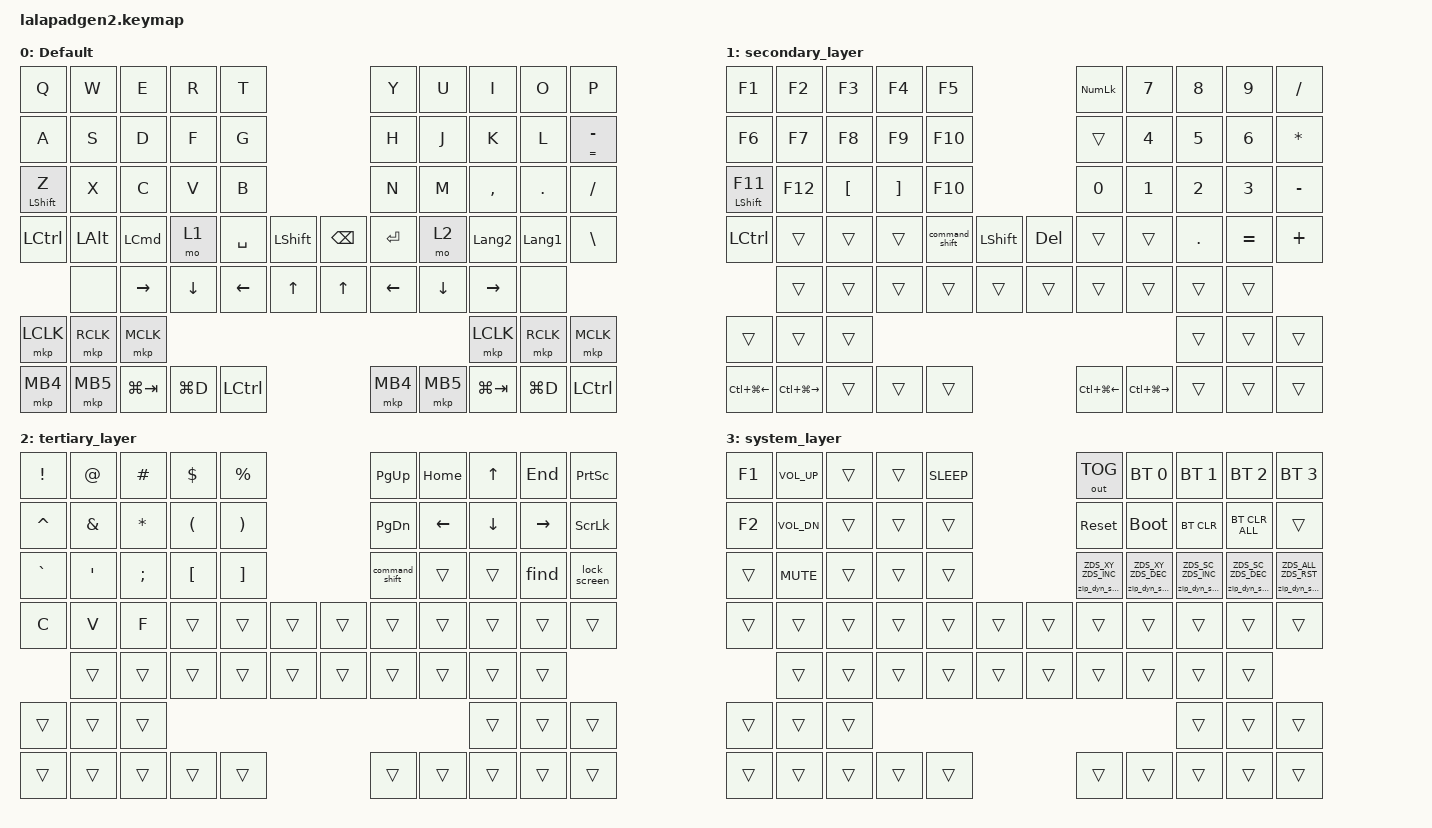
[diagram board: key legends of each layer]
#include <input/processors.dtsi>
#include <dt-bindings/zmk/zip_dynamic_scale.h>
#include <behaviors.dtsi>
#include <dt-bindings/zmk/bt.h>
#include <dt-bindings/zmk/keys.h>
#include <dt-bindings/zmk/outputs.h>
#include <dt-bindings/zmk/pointing.h>

#define DEFAULT_LAYER   0
#define SECONDARY_LAYER 1
#define TERTIARY_LAYER  2
#define SYSTEM_LAYER    3

&mt { quick-tap-ms = <200>; };

&lt { quick-tap-ms = <200>; };

/ {
    behaviors {
        zip_dyn_scale: zip_dyn_scale {
            compatible = "zmk,behavior-zip-dynamic-scale";
            #binding-cells = <2>;
        };

        zip_dyn_scale_set: zip_dyn_scale_set {
            compatible = "zmk,behavior-zip-dynamic-scale-set";
            #binding-cells = <2>;
        };

        mt2: mod_tap2 {
            compatible = "zmk,behavior-hold-tap";
            #binding-cells = <2>;
            flavor = "tap-preferred";
            tapping-term-ms = <200>;
            quick-tap-ms = <200>;
            require-prior-idle-ms = <125>;
            bindings = <&kp>, <&kp>;
        };

        tap_dance_layer_1and2: tap_dance_layer_1and2 {
            compatible = "zmk,behavior-tap-dance";
            label = "td_mo12";
            #binding-cells = <0>;
            bindings = <&mo 1>, <&mo 2>;
        };
    };

    combos {
        compatible = "zmk,combos";

        CONBO_ESC {
            bindings = <&kp ESCAPE>;
            key-positions = <0 1>;
        };

        COMBO_TAB {
            bindings = <&kp TAB>;
            key-positions = <10 11>;
        };
    };

    macros {
        screenshot: screenshot {
            compatible = "zmk,behavior-macro";
            #binding-cells = <0>;
            bindings = <&kp LGUI &kp LSHFT &kp NUMBER_4>;
            label = "SCREENSHOT";
        };

        screenshot_full: screenshot_full {
            compatible = "zmk,behavior-macro";
            #binding-cells = <0>;
            bindings = <&kp LEFT_COMMAND &kp LEFT_SHIFT &kp NUMBER_3>;
            label = "SCREENSHOT_FULL";
        };

        coppy: coppy {
            compatible = "zmk,behavior-macro";
            #binding-cells = <0>;
            bindings = <&kp LEFT_COMMAND &kp C>;
            label = "COPPY";
        };

        paste: paste {
            compatible = "zmk,behavior-macro";
            #binding-cells = <0>;
            bindings = <&kp LEFT_COMMAND &kp V>;
            label = "PASTE";
        };

        plain_text: plain_text {
            compatible = "zmk,behavior-macro";
            #binding-cells = <0>;
            bindings = <&kp LEFT_COMMAND &kp LEFT_SHIFT &kp V>;
            label = "PLAIN_TEXT";
        };

        find: find {
            compatible = "zmk,behavior-macro";
            #binding-cells = <0>;
            bindings = <&kp LEFT_COMMAND &kp F>;
            label = "FIND";
        };

        lock_screen: lock_screen {
            compatible = "zmk,behavior-macro";
            #binding-cells = <0>;
            bindings = <&kp LEFT_CONTROL &kp LEFT_COMMAND &kp Q>;
            label = "LOCK_SCREEN";
        };

        command_shift: command_shift {
            compatible = "zmk,behavior-macro";
            #binding-cells = <0>;
            bindings = <&kp LEFT_COMMAND &kp LEFT_SHIFT>;
            label = "COMMAND_SHIFT";
        };
    };

    keymap {
        compatible = "zmk,keymap";

        DEFAULT_LAYER {
            display-name = "Default";
            bindings = <
&kp Q              &kp W         &kp E             &kp R      &kp T                                     &kp Y      &kp U     &kp I           &kp O           &kp P
&kp A              &kp S         &kp D             &kp F      &kp G                                     &kp H      &kp J     &kp K           &kp L           &mt2 EQUAL MINUS
&mt2 LEFT_SHIFT Z  &kp X         &kp C             &kp V      &kp B                                     &kp N      &kp M     &kp COMMA       &kp PERIOD      &kp SLASH
&kp LCTRL          &kp LEFT_ALT  &kp LEFT_COMMAND  &mo 1      &kp SPACE  &kp LEFT_SHIFT  &kp BACKSPACE  &kp ENTER  &mo 2     &kp LANGUAGE_2  &kp LANGUAGE_1  &kp BACKSLASH
                   &none         &kp RIGHT         &kp DOWN   &kp LEFT   &kp UP          &kp UP         &kp LEFT   &kp DOWN  &kp RIGHT       &none
&mkp LCLK          &mkp RCLK     &mkp MCLK                                                                                   &mkp LCLK       &mkp RCLK       &mkp MCLK
&mkp MB4           &mkp MB5      &kp LG(TAB)       &kp LG(D)  &kp LCTRL                                 &mkp MB4   &mkp MB5  &kp LG(TAB)     &kp LG(D)       &kp LCTRL
            >;
        };

        SECONDARY_LAYER {
            display-name = "secondary_layer";
            bindings = <
&kp F1              &kp F2             &kp F3            &kp F4             &kp F5                                   &kp KP_NUMLOCK    &kp N7             &kp N8        &kp N9        &kp SLASH
&kp F6              &kp F7             &kp F8            &kp F9             &kp F10                                  &trans            &kp NUMBER_4       &kp N5        &kp NUMBER_6  &kp ASTERISK
&mt LEFT_SHIFT F11  &kp F12            &kp LEFT_BRACKET  &kp RIGHT_BRACKET  &kp F10                                  &kp NUMBER_0      &kp N1             &kp NUMBER_2  &kp NUMBER_3  &kp MINUS
&kp LEFT_CONTROL    &trans             &trans            &trans             &command_shift  &kp LEFT_SHIFT  &kp DEL  &trans            &trans             &kp DOT       &kp EQUAL     &kp PLUS
                    &trans             &trans            &trans             &trans          &trans          &trans   &trans            &trans             &trans        &trans
&trans              &trans             &trans                                                                                                             &trans        &trans        &trans
&kp LC(LG(LEFT))    &kp LC(LG(RIGHT))  &trans            &trans             &trans                                   &kp LC(LG(LEFT))  &kp LC(LG(RIGHT))  &trans        &trans        &trans
            >;
        };

        TERTIARY_LAYER {
            display-name = "tertiary_layer";
            bindings = <
&kp EXCLAMATION  &kp AT_SIGN    &kp HASH      &kp DOLLAR            &kp PERCENT                            &kp PAGE_UP     &kp HOME  &kp UP_ARROW    &kp END    &kp PRINTSCREEN
&kp CARET        &kp AMPERSAND  &kp ASTERISK  &kp LEFT_PARENTHESIS  &kp RIGHT_PARENTHESIS                  &kp PAGE_DOWN   &kp LEFT  &kp DOWN_ARROW  &kp RIGHT  &kp SCROLLLOCK
&kp GRAVE        &kp SQT        &kp SEMI      &kp LEFT_BRACKET      &kp RIGHT_BRACKET                      &command_shift  &trans    &trans          &find      &lock_screen
&kp C            &kp V          &kp F         &trans                &trans                 &trans  &trans  &trans          &trans    &trans          &trans     &trans
                 &trans         &trans        &trans                &trans                 &trans  &trans  &trans          &trans    &trans          &trans
&trans           &trans         &trans                                                                                               &trans          &trans     &trans
&trans           &trans         &trans        &trans                &trans                                 &trans          &trans    &trans          &trans     &trans
            >;
        };

        SYSTEM_LAYER {
            display-name = "system_layer";
            bindings = <
&kp F1  &kp C_VOL_UP  &trans  &trans  &kp C_SLEEP                  &out OUT_TOG                   &bt BT_SEL 0                   &bt BT_SEL 1                   &bt BT_SEL 2                   &bt BT_SEL 3
&kp F2  &kp C_VOL_DN  &trans  &trans  &trans                       &sys_reset                     &bootloader                    &bt BT_CLR                     &bt BT_CLR_ALL                 &trans
&trans  &kp C_MUTE    &trans  &trans  &trans                       &zip_dyn_scale ZDS_XY ZDS_INC  &zip_dyn_scale ZDS_XY ZDS_DEC  &zip_dyn_scale ZDS_SC ZDS_INC  &zip_dyn_scale ZDS_SC ZDS_DEC  &zip_dyn_scale ZDS_ALL ZDS_RST
&trans  &trans        &trans  &trans  &trans       &trans  &trans  &trans                         &trans                         &trans                         &trans                         &trans
        &trans        &trans  &trans  &trans       &trans  &trans  &trans                         &trans                         &trans                         &trans
&trans  &trans        &trans                                                                                                     &trans                         &trans                         &trans
&trans  &trans        &trans  &trans  &trans                       &trans                         &trans                         &trans                         &trans                         &trans
            >;
        };
    };

    conditional_layers {
        compatible = "zmk,conditional-layers";

        Cond_Syslayer {
            if-layers = <1 2>;
            then-layer = <3>;
        };
    };
};
